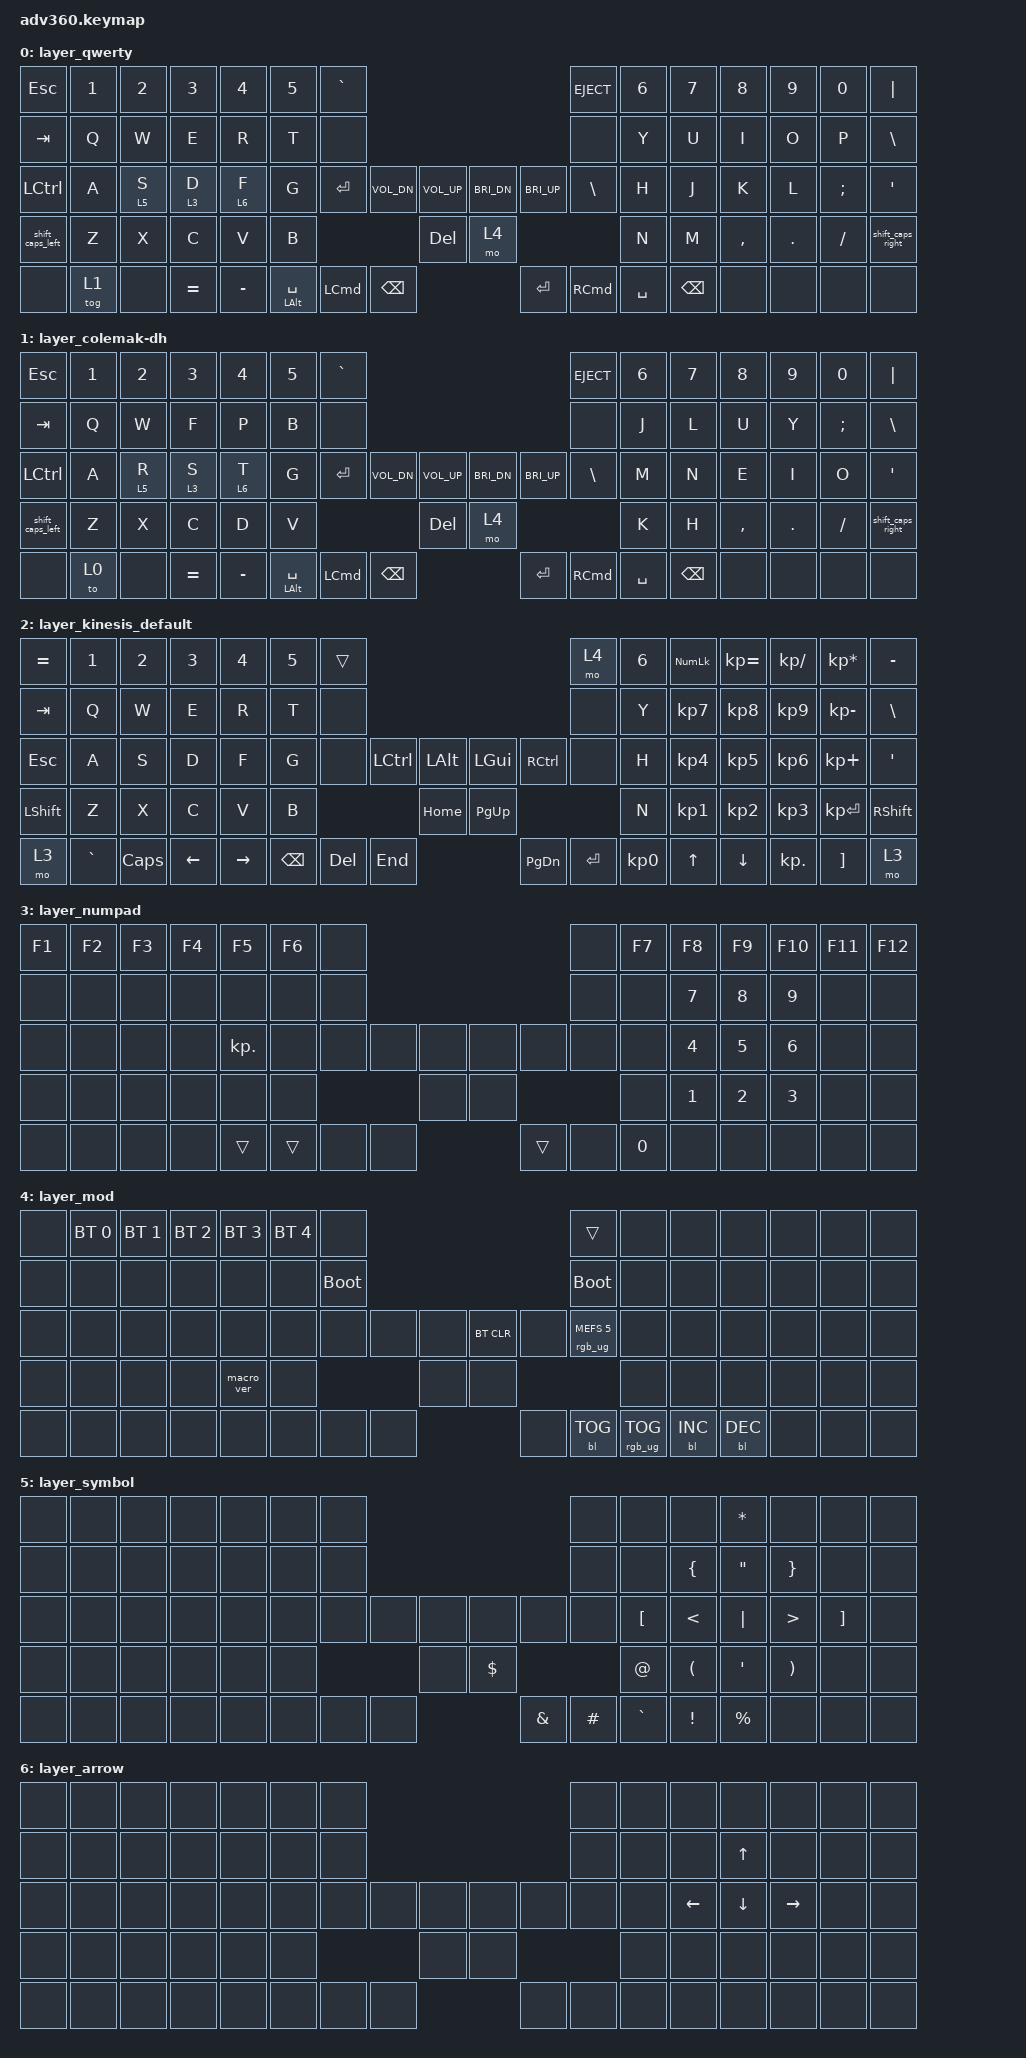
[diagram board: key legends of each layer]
/*
 * Copyright (c) 2020 The ZMK Contributors
 *
 * SPDX-License-Identifier: MIT
 */
/* THIS FILE WAS GENERATED!
 *
 * This file was generated automatically. You may or may not want to
 * edit it directly.
 */

#include <behaviors.dtsi>
#include <dt-bindings/zmk/backlight.h>
#include <dt-bindings/zmk/bt.h>
#include <dt-bindings/zmk/keys.h>
#include <dt-bindings/zmk/rgb.h>

/ {
    behaviors {
        #include "macros.dtsi"
        #include "version.dtsi"

        hm: homerow_mods {
            compatible = "zmk,behavior-hold-tap";
            label = "HOMEROW_MODS";
            #binding-cells = <2>;
            tapping-term-ms = <200>;
            quick_tap_ms = <175>;
            flavor = "tap-preferred";
            bindings = <&kp>, <&kp>;
        };

        shift_caps_left: shift_caps_left_dance {
            compatible = "zmk,behavior-tap-dance";
            #binding-cells = <0>;
            tapping-term-ms = <190>;
            bindings = <&kp LSHIFT>, <&kp CAPSLOCK>;
        };

        shift_caps_right: shift_caps_right_dance {
            compatible = "zmk,behavior-tap-dance";
            #binding-cells = <0>;
            tapping-term-ms = <190>;
            bindings = <&kp RSHIFT>, <&kp CAPSLOCK>;
        };
    };

    combos {
        compatible = "zmk,combos";

        my_screen_capture_to_clipboard {
            bindings = <&kp LG(LS(LC(N4)))>;
            key-positions = <16 17 18>;
            timeout-ms = <50>;
            layers = <0 1>;
        };

        my_screen_capture_to_files {
            bindings = <&kp LG(LS(N4))>;
            key-positions = <15 16 17 18>;
            timeout-ms = <50>;
            layers = <0 1>;
        };
    };

    keymap {
        compatible = "zmk,keymap";

        layer_qwerty {
            bindings = <
&kp ESCAPE        &kp N1  &kp N2   &kp N3     &kp N4     &kp N5  &kp GRAVE                                                                                                &kp C_EJECT    &kp N6  &kp N7         &kp N8     &kp N9   &kp N0         &kp PIPE
&kp TAB           &kp Q   &kp W    &kp E      &kp R      &kp T   &none                                                                                                    &none          &kp Y   &kp U          &kp I      &kp O    &kp P          &kp BSLH
&kp LEFT_CONTROL  &kp A   &lt 5 S  &lt 3 D    &lt 6 F    &kp G   &kp ENTER                      &kp C_VOL_DN      &kp C_VOL_UP     &kp C_BRI_DN  &kp C_BRI_UP             &kp BACKSLASH  &kp H   &kp J          &kp K      &kp L    &kp SEMICOLON  &kp SQT
&shift_caps_left  &kp Z   &kp X    &kp C      &kp V      &kp B                                                    &kp DELETE       &mo 4                                                 &kp N   &kp M          &kp COMMA  &kp DOT  &kp FSLH       &shift_caps_right
&none             &tog 1  &none    &kp EQUAL  &kp MINUS                     &mt LEFT_ALT SPACE  &kp LEFT_COMMAND  &kp BACKSPACE    &kp ENTER     &kp RCMD      &kp SPACE                         &kp BACKSPACE  &none      &none    &none          &none
            >;
        };

        layer_colemak-dh {
            bindings = <
&kp ESCAPE        &kp N1  &kp N2   &kp N3     &kp N4     &kp N5  &kp GRAVE                                                                                                &kp C_EJECT    &kp N6  &kp N7         &kp N8     &kp N9   &kp N0         &kp PIPE
&kp TAB           &kp Q   &kp W    &kp F      &kp P      &kp B   &none                                                                                                    &none          &kp J   &kp L          &kp U      &kp Y    &kp SEMICOLON  &kp BSLH
&kp LEFT_CONTROL  &kp A   &lt 5 R  &lt 3 S    &lt 6 T    &kp G   &kp ENTER                      &kp C_VOL_DN      &kp C_VOL_UP     &kp C_BRI_DN  &kp C_BRI_UP             &kp BACKSLASH  &kp M   &kp N          &kp E      &kp I    &kp O          &kp SQT
&shift_caps_left  &kp Z   &kp X    &kp C      &kp D      &kp V                                                    &kp DELETE       &mo 4                                                 &kp K   &kp H          &kp COMMA  &kp DOT  &kp FSLH       &shift_caps_right
&none             &to 0   &none    &kp EQUAL  &kp MINUS                     &mt LEFT_ALT SPACE  &kp LEFT_COMMAND  &kp BACKSPACE    &kp ENTER     &kp RCMD      &kp SPACE                         &kp BACKSPACE  &none      &none    &none          &none
            >;
        };

        layer_kinesis_default {
            bindings = <
&kp EQUAL  &kp N1     &kp N2    &kp N3    &kp N4     &kp N5  &trans                                                                    &mo 4  &kp N6  &kp KP_NUM  &kp KP_EQUAL  &kp KP_DIVIDE  &kp KP_MULTIPLY  &kp MINUS
&kp TAB    &kp Q      &kp W     &kp E     &kp R      &kp T   &none                                                                     &none  &kp Y   &kp KP_N7   &kp KP_N8     &kp KP_N9      &kp KP_MINUS     &kp BSLH
&kp ESC    &kp A      &kp S     &kp D     &kp F      &kp G   &none             &kp LCTRL  &kp LALT    &kp LGUI   &kp RCTRL             &none  &kp H   &kp KP_N4   &kp KP_N5     &kp KP_N6      &kp KP_PLUS      &kp SQT
&kp LSHFT  &kp Z      &kp X     &kp C     &kp V      &kp B                                &kp HOME    &kp PG_UP                               &kp N   &kp KP_N1   &kp KP_N2     &kp KP_N3      &kp KP_ENTER     &kp RSHFT
&mo 3      &kp GRAVE  &kp CAPS  &kp LEFT  &kp RIGHT                  &kp BSPC  &kp DEL    &kp END     &kp PG_DN  &kp ENTER  &kp KP_N0                 &kp UP      &kp DOWN      &kp KP_DOT     &kp RBKT         &mo 3
            >;
        };

        layer_numpad {
            bindings = <
&kp F1  &kp F2  &kp F3  &kp F4  &kp F5      &kp F6  &none                                                 &none  &kp F7  &kp F8        &kp F9        &kp F10       &kp F11  &kp F12
&none   &none   &none   &none   &none       &none   &none                                                 &none  &none   &kp NUMBER_7  &kp NUMBER_8  &kp NUMBER_9  &none    &none
&none   &none   &none   &none   &kp KP_DOT  &none   &none          &none  &none    &none   &none          &none  &none   &kp NUMBER_4  &kp NUMBER_5  &kp NUMBER_6  &none    &none
&none   &none   &none   &none   &none       &none                         &none    &none                         &none   &kp NUMBER_1  &kp NUMBER_2  &kp NUMBER_3  &none    &none
&none   &none   &none   &none   &trans                     &trans  &none  &none    &trans  &none  &kp N0                 &none         &none         &none         &none    &none
            >;
        };

        layer_mod {
            bindings = <
&none  &bt BT_SEL 0  &bt BT_SEL 1  &bt BT_SEL 2  &bt BT_SEL 3  &bt BT_SEL 4  &none                                                                        &trans                  &none  &none       &none       &none  &none  &none
&none  &none         &none         &none         &none         &none         &bootloader                                                                  &bootloader             &none  &none       &none       &none  &none  &none
&none  &none         &none         &none         &none         &none         &none               &none  &none    &bt BT_CLR  &none                        &rgb_ug RGB_MEFS_CMD 5  &none  &none       &none       &none  &none  &none
&none  &none         &none         &none         &macro_ver    &none                                    &none    &none                                                            &none  &none       &none       &none  &none  &none
&none  &none         &none         &none         &none                                    &none  &none  &none    &none       &bl BL_TOG  &rgb_ug RGB_TOG                                 &bl BL_INC  &bl BL_DEC  &none  &none  &none
            >;
        };

        layer_symbol {
            bindings = <
&none  &none  &none  &none  &none  &none  &none                                                             &none  &none             &none                 &kp ASTERISK       &none                  &none              &none
&none  &none  &none  &none  &none  &none  &none                                                             &none  &none             &kp LEFT_BRACE        &kp DOUBLE_QUOTES  &kp RIGHT_BRACE        &none              &none
&none  &none  &none  &none  &none  &none  &none         &none  &none    &none          &none                &none  &kp LEFT_BRACKET  &kp LESS_THAN         &kp PIPE           &kp GREATER_THAN       &kp RIGHT_BRACKET  &none
&none  &none  &none  &none  &none  &none                       &none    &kp DOLLAR                                 &kp AT_SIGN       &kp LEFT_PARENTHESIS  &kp SINGLE_QUOTE   &kp RIGHT_PARENTHESIS  &none              &none
&none  &none  &none  &none  &none                &none  &none  &none    &kp AMPERSAND  &kp HASH  &kp GRAVE                           &kp EXCLAMATION       &kp PERCENT        &none                  &none              &none
            >;
        };

        layer_arrow {
            bindings = <
&none  &none  &none  &none  &none  &none  &none                                              &none  &none  &none           &none           &none            &none  &none
&none  &none  &none  &none  &none  &none  &none                                              &none  &none  &none           &kp UP_ARROW    &none            &none  &none
&none  &none  &none  &none  &none  &none  &none         &none  &none    &none  &none         &none  &none  &kp LEFT_ARROW  &kp DOWN_ARROW  &kp RIGHT_ARROW  &none  &none
&none  &none  &none  &none  &none  &none                       &none    &none                       &none  &none           &none           &none            &none  &none
&none  &none  &none  &none  &none                &none  &none  &none    &none  &none  &none                &none           &none           &none            &none  &none
            >;
        };
    };
};
